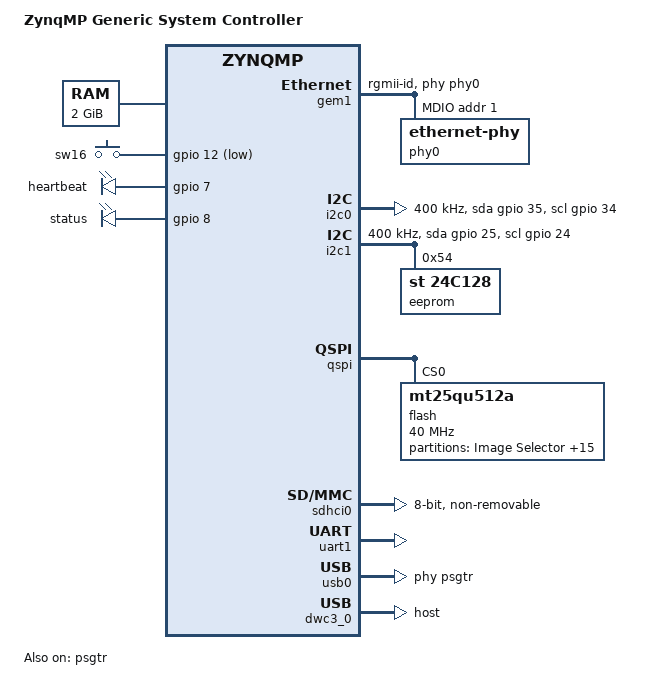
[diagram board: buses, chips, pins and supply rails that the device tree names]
// SPDX-License-Identifier: GPL-2.0
/*
 * dts file for Xilinx ZynqMP Generic System Controller
 *
 * (C) Copyright 2021, Xilinx, Inc.
 *
 * Michal Simek <michal.simek@xilinx.com>
 */
/dts-v1/;

#include "zynqmp.dtsi"
#include "zynqmp-clk-ccf.dtsi"
#include <dt-bindings/gpio/gpio.h>
#include <dt-bindings/net/ti-dp83867.h>
#include <dt-bindings/pinctrl/pinctrl-zynqmp.h>
#include <dt-bindings/phy/phy.h>

/ {
	model = "ZynqMP Generic System Controller";
	compatible = "xlnx,zynqmp-sc-revB", "xlnx,zynqmp-sc", "xlnx,zynqmp";

	aliases {
		i2c0 = &i2c0;
		i2c1 = &i2c1;
		mmc0 = &sdhci0;
		mmc1 = &sdhci1;
		nvmem0 = &eeprom;
		rtc0 = &rtc;
		serial0 = &uart0;
		serial1 = &uart1;
		serial2 = &dcc;
		spi0 = &qspi;
		spi1 = &spi0;
		spi2 = &spi1;
		usb0 = &usb0;
		usb1 = &usb1;
	};

	chosen {
		bootargs = "earlycon";
		stdout-path = "serial1:115200n8";
	};

	memory@0 {
		device_type = "memory";
		reg = <0x0 0x0 0x0 0x80000000>;
	};

	gpio-keys {
		compatible = "gpio-keys";
		autorepeat;
		fwuen {
			label = "sw16";
			gpios = <&gpio 12 GPIO_ACTIVE_LOW>;
		};
	};

	leds {
		compatible = "gpio-leds";
		ds40-led {
			label = "heartbeat";
			gpios = <&gpio 7 GPIO_ACTIVE_HIGH>;
			linux,default-trigger = "heartbeat";
		};
		ds44-led {
			label = "status";
			gpios = <&gpio 8 GPIO_ACTIVE_HIGH>;
		};
	};

	si5332_2: si5332_2 { /* u42 */
		compatible = "fixed-clock";
		#clock-cells = <0>;
		clock-frequency = <26000000>;
	};
};

&gpio {
	status = "okay";
	gpio-line-names = "QSPI_CLK", "QSPI_DQ1", "QSPI_DQ2", "QSPI_DQ3", "QSPI_DQ0", /* 0 - 4 */
		"QSPI_CS_B", "", "LED1", "LED2", "", /* 5 - 9 */
		"", "ZU4_TRIGGER", "FWUEN", "EMMC_DAT0", "EMMC_DAT1", /* 10 - 14 */
		"EMMC_DAT2", "EMMC_DAT3", "EMMC_DAT4", "EMMC_DAT5", "EMMC_DAT6", /* 15 - 19 */
		"EMMC_DAT7", "EMMC_CMD", "EMMC_CLK", "EMMC_RST_B", "I2C1_SCL", /* 20 - 24 */
		"I2C1_SDA", "UART0_RXD", "UART0_TXD", "", "", /* 25 - 29 */
		"", "", "", "", "I2C0_SCL", /* 30 - 34 */
		"I2C0_SDA", "UART1_TXD", "UART1_RXD", "GEM_TX_CLK", "GEM_TX_D0", /* 35 - 39 */
		"GEM_TX_D1", "GEM_TX_D2", "GEM_TX_D3", "GEM_TX_CTL", "GEM_RX_CLK", /* 40 - 44 */
		"GEM_RX_D0", "GEM_RX_D1", "GEM_RX_D2", "GEM_RX_D3", "GEM_RX_CTL", /* 45 - 49 */
		"GEM_MDC", "GEM_MDIO", "USB0_CLK", "USB0_DIR", "USB0_DATA2", /* 50 - 54 */
		"USB0_NXT", "USB0_DATA0", "USB0_DATA1", "USB0_STP", "USB0_DATA3", /* 55 - 59 */
		"USB0_DATA4", "USB0_DATA5", "USB0_DATA6", "USB0_DATA7", "", /* 60 - 64 */
		"", "", "", "", "", /* 65 - 69 */
		"", "", "", "", "", /* 70 - 74 */
		"", "", "ETH_RESET_B", /* 75 - 77, MIO end and EMIO start */
		"", "", /* 78 - 79 */
		"", "", "", "", "", /* 80 - 84 */
		"", "", "", "", "", /* 85 -89 */
		"", "", "", "", "", /* 90 - 94 */
		"", "", "", "", "", /* 95 - 99 */
		"", "", "", "", "", /* 100 - 104 */
		"", "", "", "", "", /* 105 - 109 */
		"", "", "", "", "", /* 110 - 114 */
		"", "", "", "", "", /* 115 - 119 */
		"", "", "", "", "", /* 120 - 124 */
		"", "", "", "", "", /* 125 - 129 */
		"", "", "", "", "", /* 130 - 134 */
		"", "", "", "", "", /* 135 - 139 */
		"", "", "", "", "", /* 140 - 144 */
		"", "", "", "", "", /* 145 - 149 */
		"", "", "", "", "", /* 150 - 154 */
		"", "", "", "", "", /* 155 - 159 */
		"", "", "", "", "", /* 160 - 164 */
		"", "", "", "", "", /* 165 - 169 */
		"", "", "", ""; /* 170 - 174 */
};

&gem1 { /* gem1 MIO38-49, MDIO MIO50/51 */
	status = "okay";
	phy-mode = "rgmii-id";
	phy-handle = <&phy0>;

	mdio: mdio {
		#address-cells = <1>;
		#size-cells = <0>;
		reset-gpios = <&gpio 77 GPIO_ACTIVE_LOW>;
		reset-delay-us = <2>;

		phy0: ethernet-phy@1 {
			#phy-cells = <1>;
			reg = <1>;
			ti,rx-internal-delay = <DP83867_RGMIIDCTL_2_25_NS>;
			ti,tx-internal-delay = <DP83867_RGMIIDCTL_2_75_NS>;
			ti,fifo-depth = <DP83867_PHYCR_FIFO_DEPTH_4_B_NIB>;
			ti,dp83867-rxctrl-strap-quirk;
		};
	};
};

&i2c0 {
	#address-cells = <1>;
	#size-cells = <0>;
	status = "okay";
	clock-frequency = <400000>;
	scl-gpios = <&gpio 34 GPIO_ACTIVE_HIGH>;
	sda-gpios = <&gpio 35 GPIO_ACTIVE_HIGH>;
};

&i2c1 { /* i2c1 MIO 24-25 */
	status = "okay";
	u-boot,dm-pre-reloc;
	clock-frequency = <400000>;
	scl-gpios = <&gpio 24 GPIO_ACTIVE_HIGH>;
	sda-gpios = <&gpio 25 GPIO_ACTIVE_HIGH>;

	/* Use for storing information about SC board */
	eeprom: eeprom@54 { /* u34 - m24128 16kB */
		compatible = "st,24c128", "atmel,24c128";
		reg = <0x54>; /* & 0x5c */
		u-boot,dm-pre-reloc;
	};
};

/* USB 3.0 only */
&psgtr {
	status = "okay";
	/* nc, nc, usb3 */
	clocks = <&si5332_2>;
	clock-names = "ref2";
};

&qspi { /* MIO 0-5 */
	status = "okay";
	/* QSPI should also have PINCTRL setup */
	flash@0 {
		compatible = "mt25qu512a", "m25p80", "jedec,spi-nor"; /* mt25qu512abb8e12 512Mib */
		#address-cells = <1>;
		#size-cells = <1>;
		reg = <0>;
		spi-tx-bus-width = <1>;
		spi-rx-bus-width = <4>;
		spi-max-frequency = <40000000>; /* 40MHz */
		partition@0 {
			label = "Image Selector";
			reg = <0x0 0x80000>; /* 512KB */
			read-only;
			lock;
		};
		partition@80000 {
			label = "Image Selector Golden";
			reg = <0x80000 0x80000>; /* 512KB */
			read-only;
			lock;
		};
		partition@100000 {
			label = "Persistent Register";
			reg = <0x100000 0x20000>; /* 128KB */
		};
		partition@120000 {
			label = "Persistent Register Backup";
			reg = <0x120000 0x20000>; /* 128KB */
		};
		partition@140000 {
			label = "Open_1";
			reg = <0x140000 0xC0000>; /* 768KB */
		};
		partition@200000 {
			label = "Image A (FSBL, PMU, ATF, U-Boot)";
			reg = <0x200000 0xD00000>; /* 13MB */
		};
		partition@f00000 {
			label = "ImgSel Image A Catch";
			reg = <0xF00000 0x80000>; /* 512KB */
			read-only;
			lock;
		};
		partition@f80000 {
			label = "Image B (FSBL, PMU, ATF, U-Boot)";
			reg = <0xF80000 0xD00000>; /* 13MB */
		};
		partition@1c80000 {
			label = "ImgSel Image B Catch";
			reg = <0x1C80000 0x80000>; /* 512KB */
			read-only;
			lock;
		};
		partition@1d00000 {
			label = "Open_2";
			reg = <0x1D00000 0x100000>; /* 1MB */
		};
		partition@1e00000 {
			label = "Recovery Image";
			reg = <0x1E00000 0x200000>; /* 2MB */
			read-only;
			lock;
		};
		partition@2000000 {
			label = "Recovery Image Backup";
			reg = <0x2000000 0x200000>; /* 2MB */
			read-only;
			lock;
		};
		partition@2200000 {
			label = "U-Boot storage variables";
			reg = <0x2200000 0x20000>; /* 128KB */
		};
		partition@2220000 {
			label = "U-Boot storage variables backup";
			reg = <0x2220000 0x20000>; /* 128KB */
		};
		partition@2240000 {
			label = "SHA256";
			reg = <0x2240000 0x10000>; /* 256B but 64KB sector */
			read-only;
			lock;
		};
		partition@2250000 {
			label = "User";
			reg = <0x2250000 0x1db0000>; /* 29.5 MB */
		};
	};
};

&sdhci0 { /* emmc MIO 13-23 - with some settings MTFC16GAPALBH 16GB */
	status = "okay";
	non-removable;
	disable-wp;
	bus-width = <8>;
	xlnx,mio-bank = <0>;
};

&uart1 { /* uart0 MIO36-37 */
	status = "okay";
};

&usb0 {
	status = "okay";
	phy-names = "usb3-phy";
	phys = <&psgtr 2 PHY_TYPE_USB3 0 2>;
};

&dwc3_0 {
	status = "okay";
	dr_mode = "host";
	snps,usb3_lpm_capable;
	maximum-speed = "super-speed";
};
